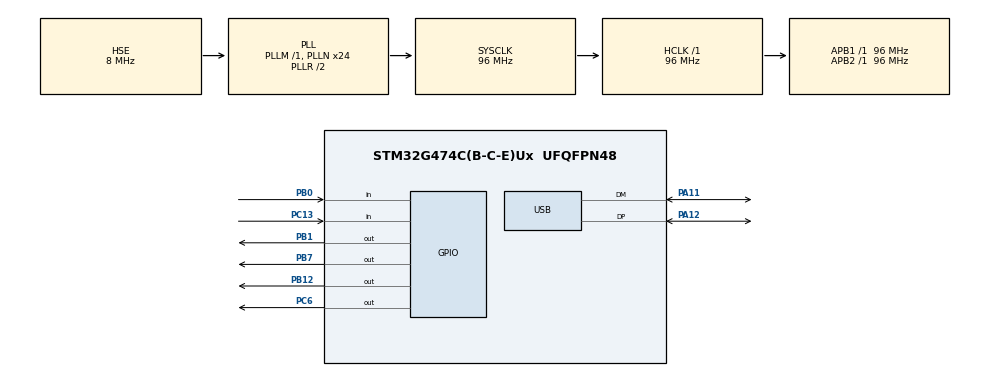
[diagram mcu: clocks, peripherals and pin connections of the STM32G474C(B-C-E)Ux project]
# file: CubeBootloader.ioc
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Mcu.Family=STM32G4
Mcu.Name=STM32G474C(B-C-E)Ux
Mcu.Package=UFQFPN48
NVIC.PriorityGroup=NVIC_PRIORITYGROUP_4
NVIC.USB_LP_IRQn=true\:0\:0\:false\:false\:true\:false\:true\:true
PA11.Mode=Device
PA11.Signal=USB_DM
PA12.Mode=Device
PA12.Signal=USB_DP
PA13.Mode=Serial_Wire
PA13.Signal=SYS_JTMS-SWDIO
PA14.Mode=Serial_Wire
PA14.Signal=SYS_JTCK-SWCLK
PB0.GPIO_PuPd=GPIO_PULLUP
PB0.Signal=GPIO_Input
PB1.PinState=GPIO_PIN_SET
PB1.Signal=GPIO_Output
PB12.GPIO_ModeDefaultOutputPP=GPIO_MODE_OUTPUT_OD
PB12.GPIO_PuPd=GPIO_NOPULL
PB12.PinState=GPIO_PIN_SET
PB12.Signal=GPIO_Output
PB7.PinState=GPIO_PIN_SET
PB7.Signal=GPIO_Output
PC13.Signal=GPIO_Input
PC6.Signal=GPIO_Output
PF0-OSC_IN.Mode=HSE-External-Oscillator
PF0-OSC_IN.Signal=RCC_OSC_IN
PF1-OSC_OUT.Mode=HSE-External-Oscillator
PF1-OSC_OUT.Signal=RCC_OSC_OUT
ProjectManager.HeapSize=0x2000
ProjectManager.StackSize=0x400
ProjectManager.TargetToolchain=STM32CubeIDE
RCC.ADC12Freq_Value=96000000
RCC.ADC345Freq_Value=96000000
RCC.AHBFreq_Value=96000000
RCC.APB1Freq_Value=96000000
RCC.APB1TimFreq_Value=96000000
RCC.APB2Freq_Value=96000000
RCC.APB2TimFreq_Value=96000000
RCC.CortexFreq_Value=96000000
RCC.EXTERNAL_CLOCK_VALUE=12288000
RCC.HCLKFreq_Value=96000000
RCC.HSE_VALUE=8000000
RCC.HSI48_VALUE=48000000
RCC.HSI_VALUE=16000000
RCC.PLLN=24
RCC.PLLQ=RCC_PLLQ_DIV4
RCC.PLLSourceVirtual=RCC_PLLSOURCE_HSE
RCC.SYSCLKFreq_VALUE=96000000
RCC.SYSCLKSource=RCC_SYSCLKSOURCE_PLLCLK
RCC.USBFreq_Value=48000000
RCC.VCOOutputFreq_Value=192000000
USB_DEVICE.CLASS_NAME_FS=MSC
USB_DEVICE.MANUFACTURER_STRING=NRC
USB_DEVICE.MSC_MEDIA_PACKET=2048
USB_DEVICE.PRODUCT_STRING_MSC_FS=NRC CubeBox
USB_DEVICE.VirtualMode=Msc
USB_DEVICE.VirtualModeFS=Msc_FS
VP_SYS_VS_DBSignals.Mode=DisableDeadBatterySignals
VP_USB_DEVICE_VS_USB_DEVICE_MSC_FS.Mode=MSC_FS
board=custom

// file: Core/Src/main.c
/* USER CODE BEGIN Header */
/**
  ******************************************************************************
  * @file           : main.c
  * @brief          : Main program body
  ******************************************************************************
  * @attention
  *
  * Copyright (c) 2025 STMicroelectronics.
  * All rights reserved.
  *
  * This software is licensed under terms that can be found in the LICENSE file
  * in the root directory of this software component.
  * If no LICENSE file comes with this software, it is provided AS-IS.
  *
  ******************************************************************************
  */
/* USER CODE END Header */
#include "main.h"

/* USER CODE BEGIN Includes */
#include "fat_app.h"
#include "usb_device.h"
#include "usbd_storage_if.h"
/* USER CODE END Includes */

/* USER CODE BEGIN PTD */
typedef void (*pFunction)(void);
/* USER CODE END PTD */

/* USER CODE BEGIN PV */
extern USBD_HandleTypeDef hUsbDeviceFS;
/* USER CODE END PV */

void SystemClock_Config(void);
static void MX_GPIO_Init(void);
/* USER CODE BEGIN PFP */
void JumpToApp(void);
void TurnOff(void);
/* USER CODE END PFP */

int main(void)
{

  /* USER CODE BEGIN 1 */
	FLASH_EraseInitTypeDef flashErase;
	uint32_t ErrorFlash;
  /* USER CODE END 1 */

  /* MCU Configuration--------------------------------------------------------*/

  /* Reset of all peripherals, Initializes the Flash interface and the Systick. */
  HAL_Init();

  /* Configure the system clock */
  SystemClock_Config();

  /* Initialize all configured peripherals */
  MX_GPIO_Init();
  /* USER CODE BEGIN 2 */
  //
  // boot-up procedure
  //   1. LED blinks during the waiting time(about 2s)
  //   2. Check watermark of the user program
  //      - user program must have a valid version string in it's first sector
  //      - user program runs from second sector
  //   2. Check power button (GPIOB_0)
  //      - if power button is pressed, user program is executed --> 3
  //      - the other case, go to update mode --> 4
  //
  //   3. Jump to user application
  //      - jump into FLASH_APP_ADDR + SECTOR_SIZE
  //
  //   4. Update mode
  //      - Initialize virtual FAT
  //      - Prepare MSC
  //      - wait....

	// blink led during waiting time
  	for (int i = 0; i < 10; ++i)
  	{
  		HAL_GPIO_TogglePin(GPIOB, GPIO_PIN_12);
		HAL_GPIO_TogglePin(GPIOC, GPIO_PIN_6);
		HAL_Delay(200);
  	}

  	// check version string
  	memset(versionStr, ' ', MAX_VERSIONSTR);
  	uint32_t watermark = *((uint32_t*)FLASH_APP_ADDR);
  	const char *ptr = (char *)(FLASH_APP_ADDR + sizeof(uint32_t));
  	if(watermark == 0xDEADBEEF && strncmp(ptr, "PowerCUBE", 9) == 0)
		strncpy((char *)versionStr, ptr, MAX_VERSIONSTR);
  	else
  		strcpy((char *)versionStr, "N/A");

  	// check whether power button is pressed
	if(HAL_GPIO_ReadPin(GPIOB, GPIO_PIN_0) == GPIO_PIN_RESET && versionStr[0] == 'P')
	{
		//
		// Jump to application
		//
		JumpToApp();
	}

	//
	// ---------- Enter in update mode ----------
	//

	// Initialize the FAT File System
	FAT_Init();

	// Initialize the USB Device MSC
	MX_USB_Device_Init();

	// Turn the User LED ON to indicate that application entered in update mode
	HAL_GPIO_WritePin(GPIOB, GPIO_PIN_12, GPIO_PIN_RESET);
	HAL_GPIO_WritePin(GPIOC, GPIO_PIN_6, GPIO_PIN_SET);

  /* USER CODE END 2 */

  /* Infinite loop */
  /* USER CODE BEGIN WHILE */
  uint32_t lastTick = HAL_GetTick();
  uint32_t blinkTick = lastTick, blinkCount = 0;
  uint32_t lastPress = 0;
  while (1)
  {
	    // do noting: explicit exit from update mode
  		if (HAL_GetTick() - lastTick > 5 * 60 * 1000)
  			break; // timeout 5min --> power-off

  		// long key press: implicit exit from update mode
  		if (HAL_GPIO_ReadPin(GPIOB, GPIO_PIN_0) == GPIO_PIN_RESET)
  		{
  			if (lastPress == 0)
  				lastPress = HAL_GetTick();

  			if (HAL_GetTick() - lastPress > 2500)
  				break; // hold button for 2500ms --> power-off
  		}
  		else
  		{
  			// reset press-tick
  			lastPress = 0;
  		}

  		// blink LED: short ON, long OFF
  		if (HAL_GetTick() - blinkTick > 200)
  		{
  			// 0, 1, 2, 3, 4, 5
  			// ^              ^
  			if (blinkCount == 0 || blinkCount == 5)
  			{
  				HAL_GPIO_TogglePin(GPIOB, GPIO_PIN_12);
  				HAL_GPIO_TogglePin(GPIOC, GPIO_PIN_6);
  			}

  			blinkCount = (blinkCount + 1) % 6;
  			blinkTick = HAL_GetTick();
  		}

		if(fatINFO.FileTransferCpt == SET)
		{
			/* Wait for the end of transmission */
			HAL_Delay(250);

			/* De-Initialize the USB Device */
			USBD_DeInit(&hUsbDeviceFS);

			/* Erase the Remaining Flash Memory */
			/* Initialize the Erase TypeDef */
			flashErase.Banks = FLASH_BANK_1;
			flashErase.TypeErase = FLASH_TYPEERASE_PAGES;

			/* Calculate the last Memory Position */
			flashErase.Page = FLASH_PAGE_OFFSET + (fatINFO.FileSize + FLASH_PAGE_SIZE-1)/FLASH_PAGE_SIZE;

			/* Unlock the Flash Memory */
			HAL_FLASH_Unlock();

			/* Check which bank corresponds to the calculated page */
			if(flashErase.Page < FLASH_PAGE_NB)
			{
				/* Compute the Number of pages */
				flashErase.NbPages = FLASH_PAGE_NB - flashErase.Page;

				if(HAL_FLASHEx_Erase(&flashErase, &ErrorFlash) != HAL_OK)
				{
					/* Lock the Flash Memory */
					HAL_FLASH_Lock();

					/* Call the Error Handler */
					Error_Handler();
				}

				/* Update the Erase settings */
				flashErase.Banks = FLASH_BANK_2;
				//flashErase.Page = 256;
				flashErase.Page = 0;
				flashErase.NbPages = FLASH_PAGE_NB;

				if(HAL_FLASHEx_Erase(&flashErase, &ErrorFlash) != HAL_OK)
				{
					/* Lock the Flash Memory */
					HAL_FLASH_Lock();

					/* Call the Error Handler */
					Error_Handler();
				}
			}
			else
			{
				/* Update the Erase settings */
				flashErase.Banks = FLASH_BANK_2;
				flashErase.Page &= (FLASH_PAGE_NB - 1);
				flashErase.NbPages = FLASH_PAGE_NB - flashErase.Page;

				if(HAL_FLASHEx_Erase(&flashErase, &ErrorFlash) != HAL_OK)
				{
					/* Lock the Flash Memory */
					HAL_FLASH_Lock();

					/* Call the Error Handler */
					Error_Handler();
				}
			}

			/* Lock the Flash Memory */
			HAL_FLASH_Lock();

			/* Jump To Application */
			JumpToApp();
		}

    /* USER CODE END WHILE */

    /* USER CODE BEGIN 3 */
  }

  // turn-off power
  TurnOff();

  /* USER CODE END 3 */
}

void SystemClock_Config(void)
{
  RCC_OscInitTypeDef RCC_OscInitStruct = {0};
  RCC_ClkInitTypeDef RCC_ClkInitStruct = {0};

  /** Configure the main internal regulator output voltage
  */
  HAL_PWREx_ControlVoltageScaling(PWR_REGULATOR_VOLTAGE_SCALE1);

  /** Initializes the RCC Oscillators according to the specified parameters
  * in the RCC_OscInitTypeDef structure.
  */
  RCC_OscInitStruct.OscillatorType = RCC_OSCILLATORTYPE_HSE;
  RCC_OscInitStruct.HSEState = RCC_HSE_ON;
  RCC_OscInitStruct.PLL.PLLState = RCC_PLL_ON;
  RCC_OscInitStruct.PLL.PLLSource = RCC_PLLSOURCE_HSE;
  RCC_OscInitStruct.PLL.PLLM = RCC_PLLM_DIV1;
  RCC_OscInitStruct.PLL.PLLN = 24;
  RCC_OscInitStruct.PLL.PLLP = RCC_PLLP_DIV2;
  RCC_OscInitStruct.PLL.PLLQ = RCC_PLLQ_DIV4;
  RCC_OscInitStruct.PLL.PLLR = RCC_PLLR_DIV2;
  if (HAL_RCC_OscConfig(&RCC_OscInitStruct) != HAL_OK)
  {
    Error_Handler();
  }

  /** Initializes the CPU, AHB and APB buses clocks
  */
  RCC_ClkInitStruct.ClockType = RCC_CLOCKTYPE_HCLK|RCC_CLOCKTYPE_SYSCLK
                              |RCC_CLOCKTYPE_PCLK1|RCC_CLOCKTYPE_PCLK2;
  RCC_ClkInitStruct.SYSCLKSource = RCC_SYSCLKSOURCE_PLLCLK;
  RCC_ClkInitStruct.AHBCLKDivider = RCC_SYSCLK_DIV1;
  RCC_ClkInitStruct.APB1CLKDivider = RCC_HCLK_DIV1;
  RCC_ClkInitStruct.APB2CLKDivider = RCC_HCLK_DIV1;

  if (HAL_RCC_ClockConfig(&RCC_ClkInitStruct, FLASH_LATENCY_3) != HAL_OK)
  {
    Error_Handler();
  }
}

static void MX_GPIO_Init(void)
{
  GPIO_InitTypeDef GPIO_InitStruct = {0};

  /* GPIO Ports Clock Enable */
  __HAL_RCC_GPIOC_CLK_ENABLE();
  __HAL_RCC_GPIOF_CLK_ENABLE();
  __HAL_RCC_GPIOB_CLK_ENABLE();
  __HAL_RCC_GPIOA_CLK_ENABLE();

  /*Configure GPIO pin Output Level */
  HAL_GPIO_WritePin(GPIOB, GPIO_PIN_1|GPIO_PIN_12|GPIO_PIN_7, GPIO_PIN_SET);

  /*Configure GPIO pin Output Level */
  HAL_GPIO_WritePin(GPIOC, GPIO_PIN_6, GPIO_PIN_RESET);

  /*Configure GPIO pin : PC13 */
  GPIO_InitStruct.Pin = GPIO_PIN_13;
  GPIO_InitStruct.Mode = GPIO_MODE_INPUT;
  GPIO_InitStruct.Pull = GPIO_NOPULL;
  HAL_GPIO_Init(GPIOC, &GPIO_InitStruct);

  /*Configure GPIO pin : PB0 */
  GPIO_InitStruct.Pin = GPIO_PIN_0;
  GPIO_InitStruct.Mode = GPIO_MODE_INPUT;
  GPIO_InitStruct.Pull = GPIO_PULLUP;
  HAL_GPIO_Init(GPIOB, &GPIO_InitStruct);

  /*Configure GPIO pins : PB1 PB7 */
  GPIO_InitStruct.Pin = GPIO_PIN_1|GPIO_PIN_7;
  GPIO_InitStruct.Mode = GPIO_MODE_OUTPUT_PP;
  GPIO_InitStruct.Pull = GPIO_NOPULL;
  GPIO_InitStruct.Speed = GPIO_SPEED_FREQ_LOW;
  HAL_GPIO_Init(GPIOB, &GPIO_InitStruct);

  /*Configure GPIO pin : PB12 */
  GPIO_InitStruct.Pin = GPIO_PIN_12;
  GPIO_InitStruct.Mode = GPIO_MODE_OUTPUT_OD;
  GPIO_InitStruct.Pull = GPIO_NOPULL;
  GPIO_InitStruct.Speed = GPIO_SPEED_FREQ_LOW;
  HAL_GPIO_Init(GPIOB, &GPIO_InitStruct);

  /*Configure GPIO pin : PC6 */
  GPIO_InitStruct.Pin = GPIO_PIN_6;
  GPIO_InitStruct.Mode = GPIO_MODE_OUTPUT_PP;
  GPIO_InitStruct.Pull = GPIO_NOPULL;
  GPIO_InitStruct.Speed = GPIO_SPEED_FREQ_LOW;
  HAL_GPIO_Init(GPIOC, &GPIO_InitStruct);

}

/* USER CODE BEGIN 4 */
/**
 * @brief Perform a jump to the application if it's available
 * @param None
 * @retval None
 */
void JumpToApp(void)
{
	/* Local variables */
	uint32_t JumpAddress;
	pFunction Jump_To_Application;

	/* Check whether App is available */
	if((*(uint32_t*) FLASH_APP_ADDR) != 0xFFFFFFFF && (*(uint32_t*) FLASH_RUN_ADDR) != 0xFFFFFFFF)
	{
		/* De-init the GPIOS */
		//HAL_GPIO_DeInit(GPIOC, GPIO_PIN_13);
		//HAL_GPIO_DeInit(GPIOA, GPIO_PIN_5);

		/* Set the Clock to default state */
		HAL_RCC_DeInit();

		/* Jump to user application */
		JumpAddress = *(__IO uint32_t*) (FLASH_RUN_ADDR + 4);
		Jump_To_Application = (pFunction)JumpAddress;

		/* Initialize use application's Stack Pointer */
		__set_MSP(*(__IO uint32_t*)FLASH_RUN_ADDR);
		Jump_To_Application();
	}
	else
	{
		/* Blink the LED at 0.5Hz to indicate that there isn't an application into the memory */
		for (uint32_t i = 0; i < 10; ++i)
		{
			HAL_GPIO_TogglePin(GPIOB, GPIO_PIN_12);
			HAL_GPIO_TogglePin(GPIOC, GPIO_PIN_6);
			HAL_Delay(1000);
		}

		TurnOff();
	}
}

/**
 *
 *
 */
void TurnOff(void)
{
	HAL_GPIO_WritePin(GPIOB, GPIO_PIN_12, GPIO_PIN_SET);
	HAL_GPIO_WritePin(GPIOC, GPIO_PIN_6, GPIO_PIN_RESET);
	HAL_GPIO_WritePin(GPIOB, GPIO_PIN_1, GPIO_PIN_RESET);

	while (1)
		HAL_Delay(100);
}

/**
 * @brief Perform a Flash Page Erase
 * @param page: the page number to be erased
 * @retval status: HAL_StatusTypeDef with the operation result
 */
HAL_StatusTypeDef EraseFlashPage(uint16_t page)
{
	/* Local Variables */
	HAL_StatusTypeDef status;
	FLASH_EraseInitTypeDef flashErase_t;
	uint32_t EraseError;

	/* Erase TypeDef initialization */
	flashErase_t.Page = page;
	flashErase_t.NbPages = 1;
	flashErase_t.TypeErase = FLASH_TYPEERASE_PAGES;

	if(page <= 127)
	{
		flashErase_t.Banks = FLASH_BANK_1;
	}
	else
	{
		flashErase_t.Banks = FLASH_BANK_2;
	}

	/* Unlock the Flash Memory */
	HAL_FLASH_Unlock();

	/* Perform the Flash Erase Page */
	status = HAL_FLASHEx_Erase(&flashErase_t, &EraseError);

	/* Lock the Flash Memory */
	HAL_FLASH_Lock();

	/* Return the operation result */
	return status;
}

/* USER CODE END 4 */

void Error_Handler(void)
{
  /* USER CODE BEGIN Error_Handler_Debug */
  /* User can add his own implementation to report the HAL error return state */
  __disable_irq();
  while (1)
  {
		/* Toggle the User LED status */
		HAL_GPIO_TogglePin(GPIOB, GPIO_PIN_12);
		HAL_GPIO_TogglePin(GPIOC, GPIO_PIN_6);

		/* Wait for 500ms */
		HAL_Delay(200);
  }
  /* USER CODE END Error_Handler_Debug */
}
